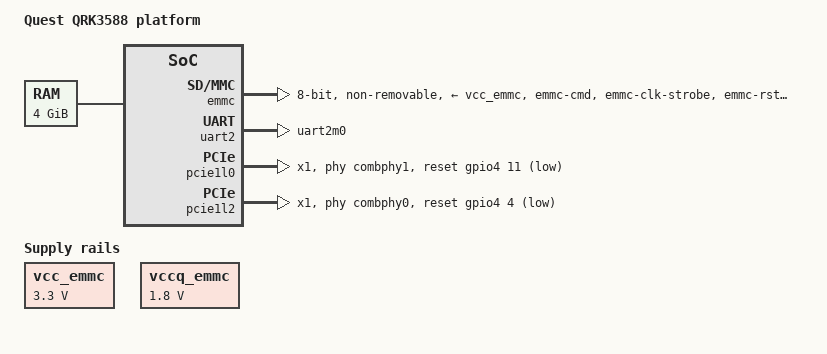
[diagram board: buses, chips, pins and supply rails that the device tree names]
// SPDX-License-Identifier: GPL-2.0-only
// Copyright (c) 2026 ninozhang001@gmail.com

/dts-v1/;

#include <dt-bindings/interrupt-controller/arm-gic.h>
#include <dt-bindings/interrupt-controller/irq.h>
#include <dt-bindings/clock/quest,qrk3588-cru.h>
#include <dt-bindings/gpio/gpio.h>
#include <dt-bindings/reset/quest,qrk3588-cru.h>

/ {
	model = "Quest QRK3588 platform";
	compatible = "quest,qrk3588";

	#address-cells = <2>;
	#size-cells = <2>;
	interrupt-parent = <&gic>;

	aliases {
		serial2 = &uart2;
		mmc0 = &emmc;
	};

	chosen {
		stdout-path = "serial2:1500000n8";
	};

	psci {
		compatible = "arm,psci-1.0";
		method = "smc";
	};

	cpus {
		#address-cells = <2>;
		#size-cells = <0>;

		cpu@0 {
			compatible = "arm,cortex-a55";
			device_type = "cpu";
			reg = <0x0 0x0>;
			enable-method = "psci";
		};

		cpu@100 {
			compatible = "arm,cortex-a55";
			device_type = "cpu";
			reg = <0x0 0x100>;
			enable-method = "psci";
		};
		cpu@200 {
			compatible = "arm,cortex-a55";
			device_type = "cpu";
			reg = <0x0 0x200>;
			enable-method = "psci";
		};
		cpu@300 {
			compatible = "arm,cortex-a55";
			device_type = "cpu";
			reg = <0x0 0x300>;
			enable-method = "psci";
		};
		cpu@400 {
			compatible = "arm,cortex-a76";
			device_type = "cpu";
			reg = <0x0 0x400>;
			enable-method = "psci";
		};
		cpu@500 {
			compatible = "arm,cortex-a76";
			device_type = "cpu";
			reg = <0x0 0x500>;
			enable-method = "psci";
		};
		cpu@600 {
			compatible = "arm,cortex-a76";
			device_type = "cpu";
			reg = <0x0 0x600>;
			enable-method = "psci";
		};
		cpu@700 {
			compatible = "arm,cortex-a76";
			device_type = "cpu";
			reg = <0x0 0x700>;
			enable-method = "psci";
		};
	};

	timer {
		compatible = "arm,armv8-timer";
		interrupts = <GIC_PPI 13 IRQ_TYPE_LEVEL_LOW>,
			     <GIC_PPI 14 IRQ_TYPE_LEVEL_LOW>,
			     <GIC_PPI 11 IRQ_TYPE_LEVEL_LOW>,
			     <GIC_PPI 10 IRQ_TYPE_LEVEL_LOW>,
			     <GIC_PPI 12 IRQ_TYPE_LEVEL_LOW>;
	};

	memory@0 {
		device_type = "memory";
		reg = <0x0 0x00000000 0x0 0xf0000000>,
		      <0x1 0xf0000000 0x0 0x0fe00000>;
	};

	reserved-memory {
		#address-cells = <2>;
		#size-cells = <2>;
		ranges;

		secure@1f0000000 {
			reg = <0x1 0xf0000000 0x0 0x10000000>;
			no-map;
		};
	};

	cru: clock-controller@fd7c0000 {
		compatible = "quest,qrk3588-cru";
		reg = <0x0 0xfd7c0000 0x0 0x8000>,
		      <0x0 0xfd7c8000 0x0 0x8000>,
		      <0x0 0xfd7f0000 0x0 0x10000>;
		reg-names = "cru", "phptop-cru", "pmu1-cru";
		#clock-cells = <1>;
		#reset-cells = <1>;
	};

	/* NanoPC-T6 LTS 2310 schematic: fixed eMMC VCC/VCCQ rails. */
	vcc_emmc: regulator-emmc-vcc {
		compatible = "regulator-fixed";
		regulator-name = "emmc-vcc";
		regulator-min-microvolt = <3300000>;
		regulator-max-microvolt = <3300000>;
		regulator-always-on;
	};

	vccq_emmc: regulator-emmc-vccq {
		compatible = "regulator-fixed";
		regulator-name = "emmc-vccq";
		regulator-min-microvolt = <1800000>;
		regulator-max-microvolt = <1800000>;
		regulator-always-on;
	};

	sys_grf: syscon@fd58c000 {
		compatible = "syscon";
		reg = <0x0 0xfd58c000 0x0 0x4000>;
	};

	emmc: mmc@fe2e0000 {
		compatible = "quest,qrk3588-emmc";
		reg = <0x0 0xfe2e0000 0x0 0x10000>;
		interrupts = <GIC_SPI 205 IRQ_TYPE_LEVEL_HIGH>;
		clocks = <&cru QRK3588_CLK_CCLK_EMMC>,
			 <&cru QRK3588_CLK_HCLK_EMMC>,
			 <&cru QRK3588_CLK_ACLK_EMMC>,
			 <&cru QRK3588_CLK_BCLK_EMMC>,
			 <&cru QRK3588_CLK_TMCLK_EMMC>;
		clock-names = "card", "ahb", "axi", "base", "timer";
		quest,sys-grf = <&sys_grf>;
		pinctrl-names = "default";
		pinctrl-0 = <&emmc_cmd_pins>, <&emmc_clk_strobe_pins>,
			    <&emmc_rstn_pins>, <&emmc_data_pins>;
		bus-width = <8>;
		max-frequency = <24000000>;
		non-removable;
		no-sd;
		no-sdio;
		vmmc-supply = <&vcc_emmc>;
		vqmmc-supply = <&vccq_emmc>;
	};

	php_grf: syscon@fd5b0000 {
		compatible = "syscon";
		reg = <0x0 0xfd5b0000 0x0 0x00010000>;
	};

	pmu: syscon@fd8d0000 {
		compatible = "syscon";
		reg = <0x0 0xfd8d0000 0x0 0x00010000>;
	};

	pinctrl: pinctrl@fd5f0000 {
		compatible = "quest,qrk3588-pinctrl";
		reg = <0x0 0xfd5f0000 0x0 0x4000>,
		      <0x0 0xfd5f4000 0x0 0x4000>,
		      <0x0 0xfd5f8000 0x0 0x1000>,
		      <0x0 0xfd5fd000 0x0 0x1000>;
		reg-names = "pmu1-ioc", "pmu2-ioc", "bus-ioc", "emmc-ioc";

		uart2m0_pins: uart2m0-pins {
			groups = "uart2m0";
			function = "uart2";
		};

		emmc_cmd_pins: emmc-cmd-pins {
			groups = "emmc-cmd";
			function = "emmc";
			bias-pull-up;
			input-enable;
			input-schmitt-disable;
			output-impedance-ohms = <40>;
		};

		emmc_clk_strobe_pins: emmc-clk-strobe-pins {
			groups = "emmc-clk-strobe";
			function = "emmc";
			bias-pull-down;
			input-enable;
			input-schmitt-disable;
			output-impedance-ohms = <40>;
		};

		emmc_rstn_pins: emmc-rstn-pins {
			groups = "emmc-rstn";
			function = "emmc";
			bias-disable;
			input-enable;
			input-schmitt-disable;
			output-impedance-ohms = <40>;
		};

		emmc_data_pins: emmc-data-pins {
			groups = "emmc-data";
			function = "emmc";
			bias-pull-up;
			input-enable;
			input-schmitt-disable;
			output-impedance-ohms = <40>;
		};
	};

	uart2: serial@feb50000 {
		compatible = "snps,dw-apb-uart";
		reg = <0x0 0xfeb50000 0x0 0x10000>;
		interrupts = <GIC_SPI 333 IRQ_TYPE_LEVEL_HIGH>;
		clocks = <&cru QRK3588_CLK_SCLK_UART2>,
			 <&cru QRK3588_CLK_PCLK_UART2>;
		clock-names = "baudclk", "apb_pclk";
		pinctrl-names = "default";
		pinctrl-0 = <&uart2m0_pins>;
		reg-shift = <2>;
		reg-io-width = <4>;
		status = "okay";
	};

	gpio0: gpio@fd8a0000 {
		compatible = "quest,qrk3588-gpio";
		reg = <0x0 0xfd8a0000 0x0 0x10000>;
		clocks = <&cru QRK3588_CLK_PCLK_GPIO0>;
		clock-names = "pclk";
		quest,bank-id = <0>;
		gpio-controller;
		#gpio-cells = <2>;
		gpio-ranges = <&pinctrl 0 0 12>, <&pinctrl 13 13 18>;
		gpio-reserved-ranges = <12 1>, <31 1>;
	};

	gpio1: gpio@fec20000 {
		compatible = "quest,qrk3588-gpio";
		reg = <0x0 0xfec20000 0x0 0x10000>;
		clocks = <&cru QRK3588_CLK_PCLK_GPIO1>;
		clock-names = "pclk";
		quest,bank-id = <1>;
		gpio-controller;
		#gpio-cells = <2>;
		gpio-ranges = <&pinctrl 0 32 32>;
	};

	gpio2: gpio@fec30000 {
		compatible = "quest,qrk3588-gpio";
		reg = <0x0 0xfec30000 0x0 0x10000>;
		clocks = <&cru QRK3588_CLK_PCLK_GPIO2>;
		clock-names = "pclk";
		quest,bank-id = <2>;
		gpio-controller;
		#gpio-cells = <2>;
		gpio-ranges = <&pinctrl 0 64 4>, <&pinctrl 6 70 16>,
			      <&pinctrl 22 88 1>, <&pinctrl 25 89 7>;
		gpio-reserved-ranges = <4 2>, <23 2>;
	};

	gpio3: gpio@fec40000 {
		compatible = "quest,qrk3588-gpio";
		reg = <0x0 0xfec40000 0x0 0x10000>;
		clocks = <&cru QRK3588_CLK_PCLK_GPIO3>;
		clock-names = "pclk";
		quest,bank-id = <3>;
		gpio-controller;
		#gpio-cells = <2>;
		gpio-ranges = <&pinctrl 0 96 30>;
		gpio-reserved-ranges = <30 2>;
	};

	gpio4: gpio@fec50000 {
		compatible = "quest,qrk3588-gpio";
		reg = <0x0 0xfec50000 0x0 0x10000>;
		clocks = <&cru QRK3588_CLK_PCLK_GPIO4>;
		clock-names = "pclk";
		quest,bank-id = <4>;
		gpio-controller;
		#gpio-cells = <2>;
		gpio-ranges = <&pinctrl 0 128 23>, <&pinctrl 24 152 6>;
		gpio-reserved-ranges = <23 1>, <30 2>;
	};

	combphy1: phy@fee10000 {
		compatible = "quest,qrk3588-combo-phy";
		reg = <0x0 0xfee10000 0x0 0x00010000>,
		      <0x0 0xfd5c0000 0x0 0x00010000>;
		reg-names = "phy", "grf";
		#phy-cells = <0>;
		quest,php-grf = <&php_grf>;
		clocks = <&cru QRK3588_CLK_PCLK_PCIE_COMBO_PIPE_PHY1>,
			 <&cru QRK3588_CLK_REF_PIPE_PHY1>,
			 <&cru QRK3588_CLK_PIPEPHY1_REF>,
			 <&cru QRK3588_CLK_PMALIVE1>,
			 <&cru QRK3588_CLK_PIPEPHY1_PIPE>,
			 <&cru QRK3588_CLK_PIPEPHY1_PIPE_ASIC>,
			 <&cru QRK3588_CLK_PCLK_PIPEPHY1_GRF>;
		clock-names = "apb", "ref", "phy-ref", "pmalive", "pipe",
			      "pipe-asic", "grf";
		resets = <&cru QRK3588_RESET_PIPE_PHY1_GRF>,
			 <&cru QRK3588_RESET_PIPE_PHY1_APB>,
			 <&cru QRK3588_RESET_PIPE_PHY1_CORE>;
		reset-names = "grf", "apb", "core";
	};

	combphy0: phy@fee00000 {
		compatible = "quest,qrk3588-combo-phy";
		reg = <0x0 0xfee00000 0x0 0x00010000>,
		      <0x0 0xfd5bc000 0x0 0x00004000>;
		reg-names = "phy", "grf";
		#phy-cells = <0>;
		clocks = <&cru QRK3588_CLK_PCLK_PCIE_COMBO_PIPE_PHY0>,
			 <&cru QRK3588_CLK_REF_PIPE_PHY0>,
			 <&cru QRK3588_CLK_PIPEPHY0_REF>,
			 <&cru QRK3588_CLK_PMALIVE0>,
			 <&cru QRK3588_CLK_PIPEPHY0_PIPE>,
			 <&cru QRK3588_CLK_PIPEPHY0_PIPE_ASIC>,
			 <&cru QRK3588_CLK_PCLK_PIPEPHY0_GRF>;
		clock-names = "apb", "ref", "phy-ref", "pmalive", "pipe",
			      "pipe-asic", "grf";
		resets = <&cru QRK3588_RESET_PIPE_PHY0_GRF>,
			 <&cru QRK3588_RESET_PIPE_PHY0_APB>,
			 <&cru QRK3588_RESET_PIPE_PHY0_CORE>;
		reset-names = "grf", "apb", "core";
	};

	pcie1l0: pcie@f5800000 {
		compatible = "quest,qrk3588-pcie";
		device_type = "pci";
		reg = <0x0 0xf5800000 0x0 0x00400000>,
		      <0x0 0xf2000000 0x0 0x00100000>,
		      <0x0 0xfe170000 0x0 0x00010000>;
		reg-names = "dbi", "config", "apb";
		phys = <&combphy1>;
		phy-names = "pcie";
		quest,pmu = <&pmu>;
		clocks = <&cru QRK3588_CLK_PCLK_PCIE_1L0>,
			 <&cru QRK3588_CLK_ACLK_PCIE_BIU>,
			 <&cru QRK3588_CLK_ACLK_PHP_BIU>,
			 <&cru QRK3588_CLK_ACLK_PCIE_BRIDGE>,
			 <&cru QRK3588_CLK_ACLK_PHP_ROOT>,
			 <&cru QRK3588_CLK_ACLK_PCIE_ROOT>,
			 <&cru QRK3588_CLK_PCLK_PHP_BIU>,
			 <&cru QRK3588_CLK_PCLK_PHP_ROOT>,
			 <&cru QRK3588_CLK_ACLK_MMU_BIU>,
			 <&cru QRK3588_CLK_ACLK_MMU_PCIE>,
			 <&cru QRK3588_CLK_ACLK_PCIE_1L0_DBI>,
			 <&cru QRK3588_CLK_ACLK_PCIE_1L0_SLV>,
			 <&cru QRK3588_CLK_ACLK_PCIE_1L0_MSTR>,
			 <&cru QRK3588_CLK_PCIE_1L0_AUX>,
			 <&cru QRK3588_CLK_PCIE_1L0_PIPE>;
		clock-names = "core", "pcie-biu", "php-biu", "pcie-bridge",
			      "php-root", "pcie-root", "php-biu-pclk", "php-root-pclk",
			      "mmu-biu", "mmu-pcie", "dbi", "slave", "master", "aux",
			      "pipe";
		resets = <&cru QRK3588_RESET_PCIE1L0_PIPE>,
			 <&cru QRK3588_RESET_PCIE1L0_POWER_UP>;
		reset-names = "pipe", "power-up";
		reset-gpios = <&gpio4 11 GPIO_ACTIVE_LOW>;
		/* PCIe 1L0 connects to PHP ITS port 1. */
		msi-map = <0x0 &its1 0x0 0x10000>;
		bus-range = <0x0 0xff>;
		linux,pci-domain = <0>;
		#address-cells = <3>;
		#size-cells = <2>;
		#interrupt-cells = <1>;
		interrupt-map-mask = <0 0 0 7>;
		interrupt-map = <0 0 0 1 &gic 0 0 GIC_SPI 240 IRQ_TYPE_LEVEL_HIGH>,
				<0 0 0 2 &gic 0 0 GIC_SPI 240 IRQ_TYPE_LEVEL_HIGH>,
				<0 0 0 3 &gic 0 0 GIC_SPI 240 IRQ_TYPE_LEVEL_HIGH>,
				<0 0 0 4 &gic 0 0 GIC_SPI 240 IRQ_TYPE_LEVEL_HIGH>;
		num-lanes = <1>;
		max-link-speed = <2>;
		ranges = <0x01000000 0x0 0x00000000 0x0 0xf2100000 0x0 0x00100000>,
			 <0x02000000 0x0 0x01000000 0x0 0xf2200000 0x0 0x00e00000>;
		status = "okay";
	};

	pcie1l2: pcie@f6000000 {
		compatible = "quest,qrk3588-pcie";
		device_type = "pci";
		reg = <0x0 0xf6000000 0x0 0x00400000>,
		      <0x0 0xf4000000 0x0 0x00100000>,
		      <0x0 0xfe190000 0x0 0x00010000>;
		reg-names = "dbi", "config", "apb";
		phys = <&combphy0>;
		phy-names = "pcie";
		quest,pmu = <&pmu>;
		clocks = <&cru QRK3588_CLK_PCLK_PCIE_1L2>,
			 <&cru QRK3588_CLK_ACLK_PCIE_BIU>,
			 <&cru QRK3588_CLK_ACLK_PHP_BIU>,
			 <&cru QRK3588_CLK_ACLK_PCIE_BRIDGE>,
			 <&cru QRK3588_CLK_ACLK_PHP_ROOT>,
			 <&cru QRK3588_CLK_ACLK_PCIE_ROOT>,
			 <&cru QRK3588_CLK_PCLK_PHP_BIU>,
			 <&cru QRK3588_CLK_PCLK_PHP_ROOT>,
			 <&cru QRK3588_CLK_ACLK_MMU_BIU>,
			 <&cru QRK3588_CLK_ACLK_MMU_PCIE>,
			 <&cru QRK3588_CLK_ACLK_PCIE_1L2_DBI>,
			 <&cru QRK3588_CLK_ACLK_PCIE_1L2_SLV>,
			 <&cru QRK3588_CLK_ACLK_PCIE_1L2_MSTR>,
			 <&cru QRK3588_CLK_PCIE_1L2_AUX>,
			 <&cru QRK3588_CLK_PCIE_1L2_PIPE>;
		clock-names = "core", "pcie-biu", "php-biu", "pcie-bridge",
			      "php-root", "pcie-root", "php-biu-pclk", "php-root-pclk",
			      "mmu-biu", "mmu-pcie", "dbi", "slave", "master", "aux",
			      "pipe";
		resets = <&cru QRK3588_RESET_PCIE1L2_PIPE>,
			 <&cru QRK3588_RESET_PCIE1L2_POWER_UP>;
		reset-names = "pipe", "power-up";
		reset-gpios = <&gpio4 4 GPIO_ACTIVE_LOW>;
		/* PCIe 1L2 connects to PHP ITS port 0. */
		msi-map = <0x0 &its0 0x0 0x10000>;
		bus-range = <0x0 0xff>;
		linux,pci-domain = <2>;
		#address-cells = <3>;
		#size-cells = <2>;
		#interrupt-cells = <1>;
		interrupt-map-mask = <0 0 0 7>;
		interrupt-map = <0 0 0 1 &gic 0 0 GIC_SPI 250 IRQ_TYPE_LEVEL_HIGH>,
				<0 0 0 2 &gic 0 0 GIC_SPI 250 IRQ_TYPE_LEVEL_HIGH>,
				<0 0 0 3 &gic 0 0 GIC_SPI 250 IRQ_TYPE_LEVEL_HIGH>,
				<0 0 0 4 &gic 0 0 GIC_SPI 250 IRQ_TYPE_LEVEL_HIGH>;
		num-lanes = <1>;
		max-link-speed = <2>;
		ranges = <0x01000000 0x0 0x00000000 0x0 0xf4100000 0x0 0x00100000>,
			 <0x02000000 0x0 0x01000000 0x0 0xf4200000 0x0 0x00e00000>;
		status = "okay";
	};

	gic: interrupt-controller@fe600000 {
		compatible = "arm,gic-v3";
		#address-cells = <2>;
		#size-cells = <2>;
		#interrupt-cells = <3>;
		ranges;
		interrupt-controller;
		reg = <0x0 0xfe600000 0x0 0x10000>,
		      <0x0 0xfe680000 0x0 0x100000>;
		interrupts = <GIC_PPI 9 IRQ_TYPE_LEVEL_HIGH>;
		dma-noncoherent;

		its0: msi-controller@fe640000 {
			compatible = "arm,gic-v3-its";
			reg = <0x0 0xfe640000 0x0 0x20000>;
			msi-controller;
			#msi-cells = <1>;
			dma-noncoherent;
		};

		its1: msi-controller@fe660000 {
			compatible = "arm,gic-v3-its";
			reg = <0x0 0xfe660000 0x0 0x20000>;
			msi-controller;
			#msi-cells = <1>;
			dma-noncoherent;
		};
	};
};
